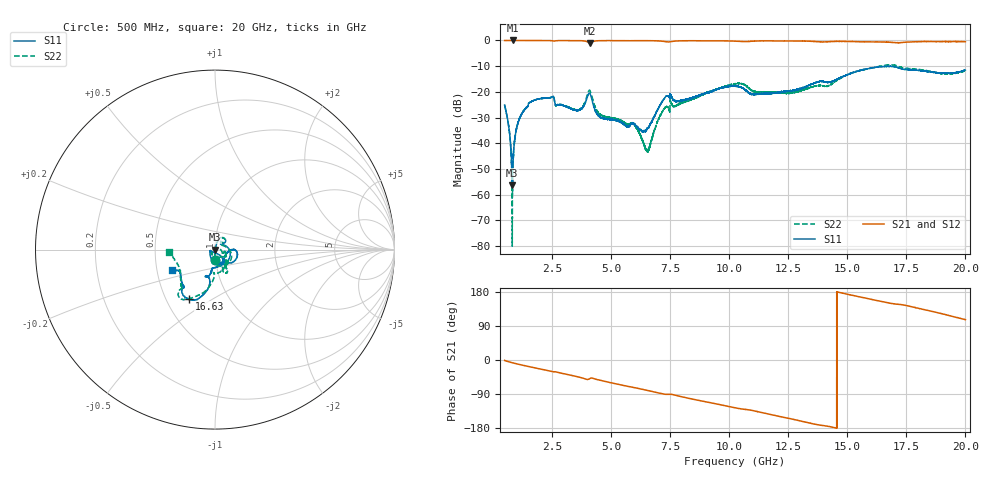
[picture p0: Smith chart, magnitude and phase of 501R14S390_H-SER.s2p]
!{501R14S390}
!Johanson Technology Inc.
!www.johansontechnology.com
!Test Board Conditions:
!Substrate Type  RO4350B
!Substrate Thickness  20 mil
!Substrate Dk  3.66
!TL Type: GCPW
!TL Trace Width  36 mil
!TL Gap  12 mil
!Electrode orientation  Horizontal
!DUT TOPOLOGY	SERIES
!Mounting Pad LxW  26x36 mil
! Created Wed Mar 11 16:07:30 2020
# mhz S ma R 50
! 2 Port Network Data from SP1.SP block
! freq  magS11  angS11  magS21  angS21  magS12  angS12  magS22  angS22
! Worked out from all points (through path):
!   19501 points, 500 MHz to 20 GHz, reference 50 ohm
!   highest |S21| = -0.01 dB at 871 MHz (marker M1); lowest = -1.0 dB at 4.096 GHz (marker M2)
!   group delay of S21, straight-line fit = 35 ps
!   lowest |S11| = -56.4 dB at 825 MHz (marker M3), VSWR 1.00, Z = 50.2 - j0.0156 ohm
!   |S11| at or under -10 dB: start of sweep to end of sweep
!   |S22| runs from -80.1 to -9.5 dB; largest |S21 - S12| = 0.02
!   S11 on the Smith chart (normalised r, x): 500 MHz: 1.00, -0.11; 16.63 GHz: 0.65, -0.40; 20 GHz: 0.60, -0.15
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500  0.05533 -89.4  0.9967 -1.1  0.996 -1.1  0.05541 -90.4
646  0.0255 -90.7  0.9978 -4.2  0.9982 -4.2  0.02557 -94.2
758  0.008872 -84.1  0.998 -6.2  0.9982 -6.2  0.00834 -96.3
825  0.001514 -5.9  0.9983 -7.2  0.9979 -7.2  0.0001114 146.5
871  0.005829 65.8  0.9994 -8.0  0.9978 -8.0  0.005865 84.1
964  0.01531 73.9  0.9979 -9.4  0.9977 -9.4  0.01552 81.8
1077  0.02577 74.7  0.9974 -11.1  0.9975 -11.1  0.0258 79.9
1598  0.06333 69.5  0.9962 -18.4  0.9967 -18.3  0.06358 72.7
2499  0.07902 53.4  0.9905 -30.4  0.9892 -30.4  0.07921 58.7
3750  0.04657 38.6  0.9873 -46.8  0.9874 -46.9  0.04845 28.8
4096  0.09382 -46.3  0.8944 -49.5  0.8957 -49.5  0.1074 -47.4
4555  0.03194 -151.0  0.9882 -53.8  0.9897 -53.8  0.03612 -116.5
5950  0.02444 -143.8  0.9884 -72.2  0.989 -72.2  0.02353 -145.8
6516  0.01814 -88.0  0.9895 -79.9  0.9901 -79.9  0.00757 116.9
7000  0.04685 -48.4  0.9784 -86.8  0.9793 -86.7  0.02837 4.8
7364  0.0831 -63.2  0.9409 -90.7  0.9405 -90.6  0.05158 -49.0
10250  0.1292 -21.5  0.9689 -126.1  0.9684 -126.0  0.1441 -61.2
11081  0.08877 -46.9  0.9741 -134.5  0.9711 -134.5  0.1012 -59.6
13500  0.1412 -101.1  0.9602 -167.7  0.9643 -167.7  0.1242 -72.6
16632  0.3111 -117.7  0.929 152.1  0.9232 151.8  0.3284 -121.8
16750  0.3122 -120.2  0.9243 150.7  0.9177 150.3  0.3323 -123.3
20000  0.2644 -154.6  0.9441 106.5  0.9467 106.7  0.2586 -176.9
